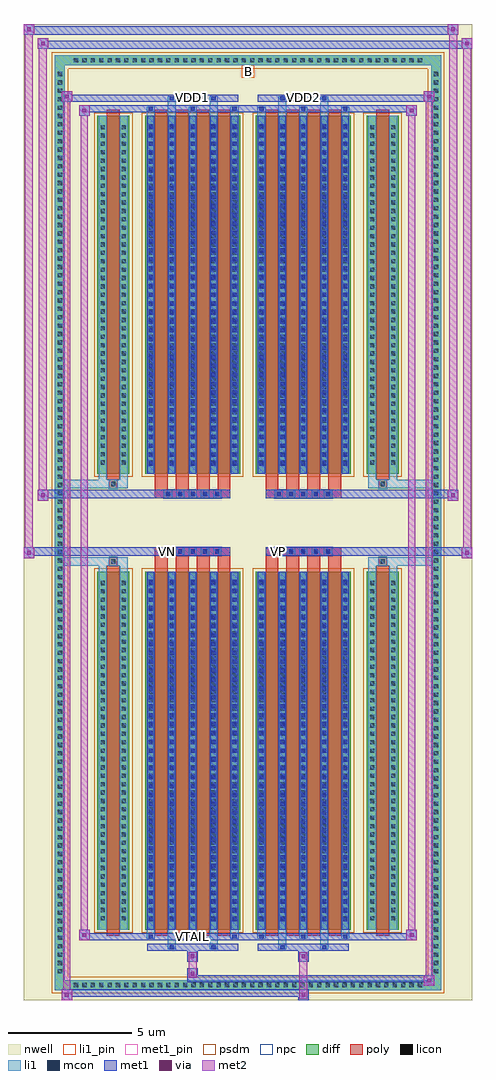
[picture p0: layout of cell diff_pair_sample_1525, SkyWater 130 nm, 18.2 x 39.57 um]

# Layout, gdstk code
import gdstk
lib = gdstk.Library(unit=1e-6, precision=5e-09)
def R(c, l, rs):  # rectangles x0, y0, x1, y1
    for r in rs: c.add(gdstk.rectangle(r[:2], r[2:], *l))
def A(c, l, x, y, w, h, nx, ny, dx, dy):  # array of equal rectangles
    R(c, l, [(x+i*dx, y+j*dy, x+i*dx+w, y+j*dy+h) for i in range(nx) for j in range(ny)])
def P(c, l, *ps):  # polygons
    for p in ps: c.add(gdstk.Polygon(p, *l))
nwell = (64, 20)
diff = (65, 20)
poly = (66, 20)
licon = (66, 44)
li1_pin = (67, 16)
li1 = (67, 20)
mcon = (67, 44)
met1_pin = (68, 16)
met1 = (68, 20)
via = (68, 44)
met2 = (69, 20)
psdm = (94, 20)
npc = (95, 20)

diff_pair_sample_1525 = lib.new_cell('diff_pair_sample_1525')
R(diff_pair_sample_1525, nwell, [(-9.1,-19.35,9.1,20.22), (-6.42,-17.54,-0.01,-0.8), (0.01,-17.54,6.42,-0.8), (-6.42,0.8,-0.01,17.54), (0.01,0.8,6.42,17.54)])
A(diff_pair_sample_1525, diff, -7.175, -18.95, 0.41, 0.41, 42, 2, 0.34, 37.49)
A(diff_pair_sample_1525, diff, -7.83, -18.395, 0.41, 0.41, 1, 108, 0, 0.34)
A(diff_pair_sample_1525, diff, 7.42, -18.395, 0.41, 0.41, 1, 108, 0, 0.34)
R(diff_pair_sample_1525, diff, [(-7.175,-18.95,7.175,-18.54), (-7.83,-18.395,-7.42,18.395), (7.42,-18.395,7.83,18.395), (-6.11,-16.495,-4.81,-1.985), (-4.17,-16.495,-0.32,-1.985), (0.32,-16.495,4.17,-1.985), (4.81,-16.495,6.11,-1.985), (-6.11,1.985,-4.81,16.495), (-4.17,1.985,-0.32,16.495), (0.32,1.985,4.17,16.495), (4.81,1.985,6.11,16.495), (-7.175,18.54,7.175,18.95)])
P(diff_pair_sample_1525, diff, [(7.83,18.95),(-7.83,18.95),(-7.83,-18.54),(-7.42,-18.54),(-7.42,18.54),(7.42,18.54),(7.42,-18.54),(-7.42,-18.54),(-7.83,-18.54),(-7.83,-18.95),(7.83,-18.95)])
A(diff_pair_sample_1525, poly, -3.78, -16.745, 0.52, 15.01, 4, 2, 0.85, 18.48)
A(diff_pair_sample_1525, poly, 0.71, -16.745, 0.52, 15.01, 4, 2, 0.85, 18.48)
A(diff_pair_sample_1525, poly, -3.78, -1.735, 0.52, 0.405, 4, 2, 0.85, 3.065)
A(diff_pair_sample_1525, poly, 0.71, -1.735, 0.52, 0.405, 4, 2, 0.85, 3.065)
A(diff_pair_sample_1525, poly, -3.41, -1.33, 0.33, 0.33, 5, 2, 0.5, 2.33)
A(diff_pair_sample_1525, poly, 1.08, -1.33, 0.33, 0.33, 5, 2, 0.5, 2.33)
R(diff_pair_sample_1525, poly, [(-5.72,-16.745,-5.2,-1.735), (5.2,-16.745,5.72,-1.735), (-5.625,-1.735,-5.295,-1.405), (-5.625,-1.735,-5.295,-1.405), (5.295,-1.735,5.625,-1.405), (5.295,-1.735,5.625,-1.405), (-3.78,-1.33,-0.71,-1), (0.71,-1.33,3.78,-1), (-3.78,1,-0.71,1.33), (0.71,1,3.78,1.33), (-5.625,1.405,-5.295,1.735), (-5.625,1.405,-5.295,1.735), (5.295,1.405,5.625,1.735), (5.295,1.405,5.625,1.735), (-5.72,1.735,-5.2,16.745), (5.2,1.735,5.72,16.745)])
A(diff_pair_sample_1525, licon, -7.055, -18.83, 0.17, 0.17, 42, 2, 0.34, 37.49)
A(diff_pair_sample_1525, licon, -7.71, -18.275, 0.17, 0.17, 1, 108, 0, 0.34)
A(diff_pair_sample_1525, licon, 7.54, -18.275, 0.17, 0.17, 1, 108, 0, 0.34)
A(diff_pair_sample_1525, licon, -5.97, -16.125, 0.17, 0.17, 1, 41, 0, 0.34)
A(diff_pair_sample_1525, licon, -5.12, -16.125, 0.17, 0.17, 1, 41, 0, 0.34)
A(diff_pair_sample_1525, licon, -4.03, -16.125, 0.17, 0.17, 5, 41, 0.85, 0.34)
A(diff_pair_sample_1525, licon, 0.46, -16.125, 0.17, 0.17, 5, 41, 0.85, 0.34)
A(diff_pair_sample_1525, licon, 4.95, -16.125, 0.17, 0.17, 1, 41, 0, 0.34)
A(diff_pair_sample_1525, licon, 5.8, -16.125, 0.17, 0.17, 1, 41, 0, 0.34)
A(diff_pair_sample_1525, licon, -3.33, -1.25, 0.17, 0.17, 5, 2, 0.5, 2.33)
A(diff_pair_sample_1525, licon, 1.16, -1.25, 0.17, 0.17, 5, 2, 0.5, 2.33)
A(diff_pair_sample_1525, licon, -5.97, 2.355, 0.17, 0.17, 1, 41, 0, 0.34)
A(diff_pair_sample_1525, licon, -5.12, 2.355, 0.17, 0.17, 1, 41, 0, 0.34)
A(diff_pair_sample_1525, licon, -4.03, 2.355, 0.17, 0.17, 5, 41, 0.85, 0.34)
A(diff_pair_sample_1525, licon, 0.46, 2.355, 0.17, 0.17, 5, 41, 0.85, 0.34)
A(diff_pair_sample_1525, licon, 4.95, 2.355, 0.17, 0.17, 1, 41, 0, 0.34)
A(diff_pair_sample_1525, licon, 5.8, 2.355, 0.17, 0.17, 1, 41, 0, 0.34)
R(diff_pair_sample_1525, licon, [(-5.545,-1.655,-5.375,-1.485), (5.375,-1.655,5.545,-1.485), (-5.545,1.485,-5.375,1.655), (5.375,1.485,5.545,1.655)])
R(diff_pair_sample_1525, li1_pin, [(-0.25,18.04,0.25,18.54)])
A(diff_pair_sample_1525, li1, -7.135, -18.91, 0.33, 0.33, 42, 2, 0.34, 37.49)
A(diff_pair_sample_1525, li1, -7.79, -18.355, 0.33, 0.33, 1, 108, 0, 0.34)
A(diff_pair_sample_1525, li1, 7.46, -18.355, 0.33, 0.33, 1, 108, 0, 0.34)
A(diff_pair_sample_1525, li1, -4.11, -16.87, 0.33, 0.375, 3, 2, 1.7, 33.365)
A(diff_pair_sample_1525, li1, -4.03, -16.87, 0.17, 0.17, 3, 2, 1.7, 33.57)
A(diff_pair_sample_1525, li1, 0.38, -16.87, 0.33, 0.375, 3, 2, 1.7, 33.365)
A(diff_pair_sample_1525, li1, 0.46, -16.87, 0.17, 0.17, 3, 2, 1.7, 33.57)
A(diff_pair_sample_1525, li1, -4.11, -16.495, 0.33, 14.51, 5, 2, 0.85, 18.48)
A(diff_pair_sample_1525, li1, 0.38, -16.495, 0.33, 14.51, 5, 2, 0.85, 18.48)
A(diff_pair_sample_1525, li1, -6.05, -16.205, 0.33, 0.33, 1, 41, 0, 0.34)
A(diff_pair_sample_1525, li1, -5.2, -16.205, 0.33, 0.33, 1, 41, 0, 0.34)
A(diff_pair_sample_1525, li1, -4.11, -16.205, 0.33, 0.33, 5, 41, 0.85, 0.34)
A(diff_pair_sample_1525, li1, 0.38, -16.205, 0.33, 0.33, 5, 41, 0.85, 0.34)
A(diff_pair_sample_1525, li1, 4.87, -16.205, 0.33, 0.33, 1, 41, 0, 0.34)
A(diff_pair_sample_1525, li1, 5.72, -16.205, 0.33, 0.33, 1, 41, 0, 0.34)
A(diff_pair_sample_1525, li1, -4.03, -16.165, 0.17, 0.17, 5, 39, 0.85, 0.36)
A(diff_pair_sample_1525, li1, -4.03, -16.165, 0.17, 13.85, 5, 2, 0.85, 18.48)
A(diff_pair_sample_1525, li1, 0.46, -16.165, 0.17, 0.17, 5, 39, 0.85, 0.36)
A(diff_pair_sample_1525, li1, 0.46, -16.165, 0.17, 13.85, 5, 2, 0.85, 18.48)
A(diff_pair_sample_1525, li1, -3.41, -1.33, 0.33, 0.33, 5, 2, 0.5, 2.33)
A(diff_pair_sample_1525, li1, 1.08, -1.33, 0.33, 0.33, 5, 2, 0.5, 2.33)
A(diff_pair_sample_1525, li1, -6.05, 2.275, 0.33, 0.33, 1, 41, 0, 0.34)
A(diff_pair_sample_1525, li1, -5.2, 2.275, 0.33, 0.33, 1, 41, 0, 0.34)
A(diff_pair_sample_1525, li1, -4.11, 2.275, 0.33, 0.33, 5, 41, 0.85, 0.34)
A(diff_pair_sample_1525, li1, 0.38, 2.275, 0.33, 0.33, 5, 41, 0.85, 0.34)
A(diff_pair_sample_1525, li1, 4.87, 2.275, 0.33, 0.33, 1, 41, 0, 0.34)
A(diff_pair_sample_1525, li1, 5.72, 2.275, 0.33, 0.33, 1, 41, 0, 0.34)
A(diff_pair_sample_1525, li1, -4.03, 2.315, 0.17, 0.17, 5, 39, 0.85, 0.36)
A(diff_pair_sample_1525, li1, 0.46, 2.315, 0.17, 0.17, 5, 39, 0.85, 0.36)
R(diff_pair_sample_1525, li1, [(-7.83,-18.95,-7.42,-18.54), (-7.83,-18.95,-7.42,-18.54), (-7.42,-18.95,7.42,-18.54), (7.42,-18.95,7.83,-18.54), (7.42,-18.95,7.83,-18.54), (-7.83,-18.54,-7.42,18.54), (7.42,-18.54,7.83,18.54), (-3.26,-17.3,-2.93,-16.495), (-3.18,-17.3,-3.01,-17.13), (-1.56,-17.3,-1.23,-16.495), (-1.48,-17.3,-1.31,-17.13), (1.23,-17.3,1.56,-16.495), (1.31,-17.3,1.48,-17.13), (2.93,-17.3,3.26,-16.495), (3.01,-17.3,3.18,-17.13), (-6.05,-16.495,-5.72,-1.985), (-5.2,-16.495,-4.87,-1.985), (4.87,-16.495,5.2,-1.985), (5.72,-16.495,6.05,-1.985), (-6.05,-1.985,-5.72,-1.405), (-5.2,-1.985,-4.87,-1.405), (4.87,-1.985,5.2,-1.405), (5.72,-1.985,6.05,-1.405), (-7.83,-1.735,-5.625,-1.405), (-6.05,-1.735,-5.625,-1.405), (-5.625,-1.735,-5.295,-1.405), (-5.295,-1.735,-4.87,-1.405), (4.87,-1.735,5.295,-1.405), (5.295,-1.735,5.625,-1.405), (5.295,-1.735,7.83,-1.405), (5.625,-1.735,6.05,-1.405), (-7.83,1.405,-5.625,1.735), (-6.05,1.405,-5.625,1.735), (-6.05,1.405,-5.72,1.985), (-5.625,1.405,-5.295,1.735), (-5.295,1.405,-4.87,1.735), (-5.2,1.405,-4.87,1.985), (4.87,1.405,5.295,1.735), (4.87,1.405,5.2,1.985), (5.295,1.405,5.625,1.735), (5.295,1.405,7.83,1.735), (5.625,1.405,6.05,1.735), (5.72,1.405,6.05,1.985), (-6.05,1.985,-5.72,16.495), (-5.2,1.985,-4.87,16.495), (4.87,1.985,5.2,16.495), (5.72,1.985,6.05,16.495), (-3.26,16.495,-2.93,17.3), (-1.56,16.495,-1.23,17.3), (1.23,16.495,1.56,17.3), (2.93,16.495,3.26,17.3), (-3.18,17.13,-3.01,17.3), (-1.48,17.13,-1.31,17.3), (1.31,17.13,1.48,17.3), (3.01,17.13,3.18,17.3), (-7.83,18.54,-7.42,18.95), (-7.83,18.54,-7.42,18.95), (-7.42,18.54,7.42,18.95), (7.42,18.54,7.83,18.95), (7.42,18.54,7.83,18.95)])
A(diff_pair_sample_1525, mcon, -4.03, -16.87, 0.17, 0.17, 3, 2, 1.7, 33.57)
A(diff_pair_sample_1525, mcon, 0.46, -16.87, 0.17, 0.17, 3, 2, 1.7, 33.57)
A(diff_pair_sample_1525, mcon, -4.03, -16.165, 0.17, 0.17, 5, 39, 0.85, 0.36)
A(diff_pair_sample_1525, mcon, 0.46, -16.165, 0.17, 0.17, 5, 39, 0.85, 0.36)
A(diff_pair_sample_1525, mcon, -3.33, -1.25, 0.17, 0.17, 5, 2, 0.5, 2.33)
A(diff_pair_sample_1525, mcon, 1.16, -1.25, 0.17, 0.17, 5, 2, 0.5, 2.33)
A(diff_pair_sample_1525, mcon, -4.03, 2.315, 0.17, 0.17, 5, 39, 0.85, 0.36)
A(diff_pair_sample_1525, mcon, 0.46, 2.315, 0.17, 0.17, 5, 39, 0.85, 0.36)
R(diff_pair_sample_1525, mcon, [(-3.18,-17.3,-3.01,-17.13), (-1.48,-17.3,-1.31,-17.13), (1.31,-17.3,1.48,-17.13), (3.01,-17.3,3.18,-17.13), (-3.18,17.13,-3.01,17.3), (-1.48,17.13,-1.31,17.3), (1.31,17.13,1.48,17.3), (3.01,17.13,3.18,17.3)])
R(diff_pair_sample_1525, met1_pin, [(-2.38,-16.91,-2.11,-16.64), (-3.38,-1.29,-3.11,-1.02), (1.11,-1.29,1.38,-1.02), (-2.38,17.09,-2.11,17.36), (2.11,17.09,2.38,17.36)])
A(diff_pair_sample_1525, met1, -4.09, -16.93, 0.29, 0.29, 3, 2, 1.7, 33.57)
A(diff_pair_sample_1525, met1, 0.4, -16.93, 0.29, 0.29, 3, 2, 1.7, 33.57)
A(diff_pair_sample_1525, met1, -4.09, -16.495, 0.29, 14.51, 5, 2, 0.85, 18.48)
A(diff_pair_sample_1525, met1, 0.4, -16.495, 0.29, 14.51, 5, 2, 0.85, 18.48)
A(diff_pair_sample_1525, met1, -4.09, -16.225, 0.29, 0.29, 5, 39, 0.85, 0.36)
A(diff_pair_sample_1525, met1, 0.4, -16.225, 0.29, 0.29, 5, 39, 0.85, 0.36)
A(diff_pair_sample_1525, met1, -3.39, -1.31, 0.29, 0.29, 5, 2, 0.5, 2.33)
A(diff_pair_sample_1525, met1, 1.1, -1.31, 0.29, 0.29, 5, 2, 0.5, 2.33)
A(diff_pair_sample_1525, met1, -4.09, 2.255, 0.29, 0.29, 5, 39, 0.85, 0.36)
A(diff_pair_sample_1525, met1, 0.4, 2.255, 0.29, 0.29, 5, 39, 0.85, 0.36)
R(diff_pair_sample_1525, met1, [(-7.56,-19.35,-7.13,-18.92), (2.03,-19.35,2.46,-18.92), (-7.56,-19.21,2.46,-18.92), (7.13,-18.78,7.56,-18.35), (-2.46,-18.64,7.56,-18.35), (-2.46,-18.5,-2.03,-18.07), (-2.46,-17.79,-2.03,-17.36), (2.03,-17.79,2.46,-17.36), (-4.09,-17.36,-0.4,-17.07), (-3.24,-17.36,-2.95,-17.07), (-1.54,-17.36,-1.25,-17.07), (0.4,-17.36,4.09,-17.07), (1.25,-17.36,1.54,-17.07), (2.95,-17.36,3.24,-17.07), (-6.85,-16.93,-6.42,-16.5), (-6.85,-16.93,-4.09,-16.64), (-4.09,-16.93,-0.4,-16.64), (-0.4,-16.93,0.4,-16.64), (0.4,-16.93,4.09,-16.64), (4.09,-16.93,6.85,-16.64), (6.42,-16.93,6.85,-16.5), (-9.1,-1.43,-8.67,-1), (8.67,-1.43,9.1,-1), (-9.1,-1.33,-0.71,-1), (-3.78,-1.33,-0.71,-1), (0.71,-1.33,3.78,-1), (0.71,-1.33,9.1,-1), (-8.53,0.9,-8.1,1.33), (8.1,0.9,8.53,1.33), (-8.53,1,-3.78,1.33), (-3.78,1,-0.71,1.33), (0.71,1,3.78,1.33), (3.78,1,8.53,1.33), (-6.85,16.5,-6.42,16.93), (6.42,16.5,6.85,16.93), (-6.85,16.64,-4.09,16.93), (-4.09,16.64,-0.4,16.93), (-0.4,16.64,0.4,16.93), (0.4,16.64,4.09,16.93), (4.09,16.64,6.85,16.93), (-7.56,17.07,-7.13,17.5), (-7.56,17.07,-4.09,17.36), (-4.09,17.07,-0.4,17.36), (-3.24,17.07,-2.95,17.36), (-1.54,17.07,-1.25,17.36), (0.4,17.07,4.09,17.36), (1.25,17.07,1.54,17.36), (2.95,17.07,3.24,17.36), (4.09,17.07,7.56,17.36), (7.13,17.07,7.56,17.5), (-8.53,19.22,-8.1,19.65), (-8.53,19.22,-6.42,19.55), (-6.42,19.22,6.42,19.55), (6.42,19.22,9.1,19.55), (8.67,19.22,9.1,19.65), (-9.1,19.79,-8.67,20.22), (-9.1,19.79,-6.42,20.12), (-6.42,19.79,6.42,20.12), (6.42,19.79,8.53,20.12), (8.1,19.79,8.53,20.22)])
R(diff_pair_sample_1525, via, [(-7.42,-19.21,-7.27,-19.06), (2.17,-19.21,2.32,-19.06), (7.27,-18.64,7.42,-18.49), (-2.32,-18.36,-2.17,-18.21), (-2.32,-17.65,-2.17,-17.5), (2.17,-17.65,2.32,-17.5), (-6.71,-16.79,-6.56,-16.64), (6.56,-16.79,6.71,-16.64), (-8.96,-1.29,-8.81,-1.14), (8.81,-1.29,8.96,-1.14), (-8.39,1.04,-8.24,1.19), (8.24,1.04,8.39,1.19), (-6.71,16.64,-6.56,16.79), (6.56,16.64,6.71,16.79), (-7.42,17.21,-7.27,17.36), (7.27,17.21,7.42,17.36), (-8.39,19.36,-8.24,19.51), (8.81,19.36,8.96,19.51), (-8.96,19.93,-8.81,20.08), (8.24,19.93,8.39,20.08)])
R(diff_pair_sample_1525, met2, [(-7.56,-19.35,-7.13,-18.92), (-7.49,-19.35,-7.2,17.5), (-7.2,-19.35,-7.13,-18.92), (-7.51,-19.3,-7.18,-18.97), (2.08,-19.3,2.41,-18.97), (2.08,-18.97,2.41,-17.74), (7.13,-18.78,7.56,-18.35), (7.2,-18.78,7.49,17.5), (7.49,-18.78,7.56,-18.35), (7.18,-18.73,7.51,-18.4), (-2.41,-18.45,-2.08,-18.12), (-2.41,-18.12,-2.08,-17.74), (-2.41,-17.74,-2.08,-17.41), (2.08,-17.74,2.41,-17.41), (-6.85,-16.93,-6.42,-16.5), (-6.78,-16.93,-6.49,16.93), (-6.49,-16.93,-6.42,-16.5), (6.42,-16.93,6.85,-16.5), (6.49,-16.93,6.78,16.93), (6.78,-16.93,6.85,-16.5), (-6.8,-16.88,-6.47,-16.55), (6.47,-16.88,6.8,-16.55), (-9.1,-1.43,-8.67,-1), (-9.05,-1.43,-8.72,20.22), (-8.72,-1.43,-8.67,-1), (8.67,-1.43,9.1,-1), (8.72,-1.43,9.05,19.65), (9.05,-1.43,9.1,-1), (-9.05,-1.38,-8.72,-1.05), (8.72,-1.38,9.05,-1.05), (-8.53,0.9,-8.1,1.33), (-8.48,0.9,-8.15,19.65), (-8.15,0.9,-8.1,1.33), (8.1,0.9,8.53,1.33), (8.15,0.9,8.48,20.22), (8.48,0.9,8.53,1.33), (-8.48,0.95,-8.15,1.28), (8.15,0.95,8.48,1.28), (-6.85,16.5,-6.42,16.93), (-6.49,16.5,-6.42,16.93), (6.42,16.5,6.85,16.93), (6.78,16.5,6.85,16.93), (-6.8,16.55,-6.47,16.88), (6.47,16.55,6.8,16.88), (-7.56,17.07,-7.13,17.5), (-7.2,17.07,-7.13,17.5), (7.13,17.07,7.56,17.5), (7.49,17.07,7.56,17.5), (-7.51,17.12,-7.18,17.45), (7.18,17.12,7.51,17.45), (-8.53,19.22,-8.1,19.65), (-8.15,19.22,-8.1,19.65), (8.67,19.22,9.1,19.65), (9.05,19.22,9.1,19.65), (-8.48,19.27,-8.15,19.6), (8.72,19.27,9.05,19.6), (-9.1,19.79,-8.67,20.22), (-8.72,19.79,-8.67,20.22), (8.1,19.79,8.53,20.22), (8.48,19.79,8.53,20.22), (-9.05,19.84,-8.72,20.17), (8.15,19.84,8.48,20.17)])
R(diff_pair_sample_1525, psdm, [(-6.24,-16.625,-4.68,-1.855), (-4.3,-16.625,-0.19,-1.855), (0.19,-16.625,4.3,-1.855), (4.68,-16.625,6.24,-1.855), (-6.24,1.855,-4.68,16.625), (-4.3,1.855,-0.19,16.625), (0.19,1.855,4.3,16.625), (4.68,1.855,6.24,16.625)])
P(diff_pair_sample_1525, psdm, [(7.96,19.08),(-7.96,19.08),(-7.96,-18.41),(-7.29,-18.41),(-7.29,18.41),(7.29,18.41),(7.29,-18.41),(-7.29,-18.41),(-7.96,-18.41),(-7.96,-19.08),(7.96,-19.08)])
A(diff_pair_sample_1525, npc, -3.43, -1.35, 0.37, 0.37, 5, 2, 0.5, 2.33)
A(diff_pair_sample_1525, npc, 1.06, -1.35, 0.37, 0.37, 5, 2, 0.5, 2.33)
R(diff_pair_sample_1525, npc, [(-5.645,-1.755,-5.275,-1.385), (5.275,-1.755,5.645,-1.385), (-3.43,-1.35,-2.56,-0.98), (-3.43,-1.35,-2.56,-0.98), (-2.93,-1.35,-2.06,-0.98), (-2.93,-1.35,-2.06,-0.98), (-2.43,-1.35,-1.56,-0.98), (-2.43,-1.35,-1.56,-0.98), (-1.93,-1.35,-1.06,-0.98), (-1.93,-1.35,-1.06,-0.98), (1.06,-1.35,1.93,-0.98), (1.06,-1.35,1.93,-0.98), (1.56,-1.35,2.43,-0.98), (1.56,-1.35,2.43,-0.98), (2.06,-1.35,2.93,-0.98), (2.06,-1.35,2.93,-0.98), (2.56,-1.35,3.43,-0.98), (2.56,-1.35,3.43,-0.98), (-3.43,0.98,-2.56,1.35), (-3.43,0.98,-2.56,1.35), (-2.93,0.98,-2.06,1.35), (-2.93,0.98,-2.06,1.35), (-2.43,0.98,-1.56,1.35), (-2.43,0.98,-1.56,1.35), (-1.93,0.98,-1.06,1.35), (-1.93,0.98,-1.06,1.35), (1.06,0.98,1.93,1.35), (1.06,0.98,1.93,1.35), (1.56,0.98,2.43,1.35), (1.56,0.98,2.43,1.35), (2.06,0.98,2.93,1.35), (2.06,0.98,2.93,1.35), (2.56,0.98,3.43,1.35), (2.56,0.98,3.43,1.35), (-5.645,1.385,-5.275,1.755), (5.275,1.385,5.645,1.755)])
diff_pair_sample_1525.add(gdstk.Label('VTAIL', (-2.245,-16.775), layer=68, texttype=5))
diff_pair_sample_1525.add(gdstk.Label('VN', (-3.245,-1.155), layer=68, texttype=5))
diff_pair_sample_1525.add(gdstk.Label('VP', (1.245,-1.155), layer=68, texttype=5))
diff_pair_sample_1525.add(gdstk.Label('B', (0,18.29), layer=67, texttype=5))
diff_pair_sample_1525.add(gdstk.Label('VDD2', (2.245,17.225), layer=68, texttype=5))
diff_pair_sample_1525.add(gdstk.Label('VDD1', (-2.245,17.225), layer=68, texttype=5))

lib.write_gds('diff_pair_sample_1525.gds')
